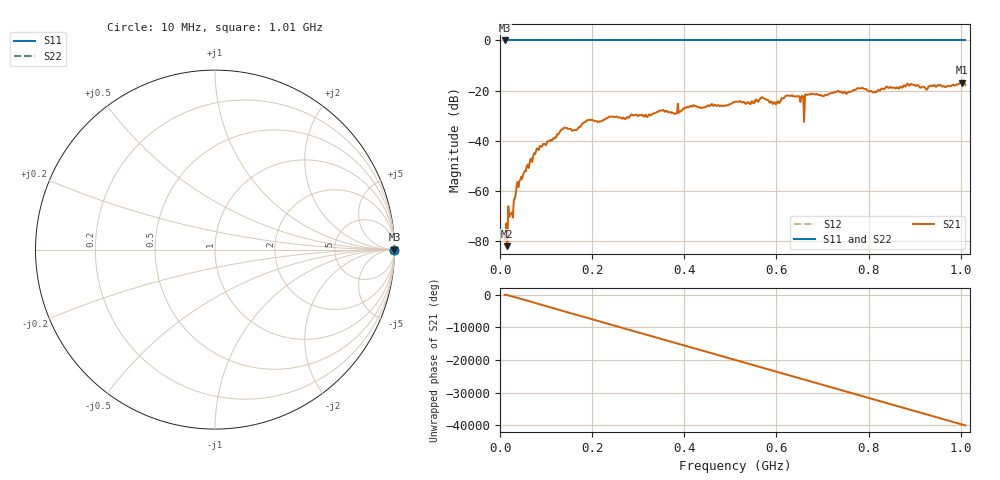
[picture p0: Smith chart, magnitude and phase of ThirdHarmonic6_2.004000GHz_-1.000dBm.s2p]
! 8/17/2025 12:04:33 AM
! C:\ANRITSUVNA\TEMP\TEMP.S2P
! CHANNEL.1
! TR.MEASUREMENT
! RAW.DATA
! RF.CORRECTION.OFF
! AVERAGING.OFF
! IF.BANDWIDTH: 5KHZ
! SWEEPTYPE:  FREQ.SWEEP(Linear)
! Reference Plane Port Info
! PORT:  PORT1  PORT2
! DISTANCE:  0  m  0  m
! TIME:  0  s  0  s
! PHASE.OFFSET:  0  deg.  0  deg.
! LOSS:  0  dB  0  dB
! REF.LOSS:  0  dB  0  dB
! REF.FREQ:  0  Hz  0  Hz
! Power Info
! POWER:  -20  dBm  -20  dBm
! EFF.POWER:  -20  dBm  -20  dBm
! SOURCE.ATTEN:  0  dB  0  dB
! TEST.ATTEN:  0  dB  0  dB
# GHZ S RI R 50.0
! FREQ.GHZ  S11RE  S11IM  S21RE  S21IM  S12RE  S12IM  S22RE  S22IM
!; PortSelection: Port_12
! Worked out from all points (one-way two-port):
!   501 points, 10 MHz to 1.01 GHz, reference 50 ohm
!   highest |S21| = -16.88 dB at 1.002 GHz (marker M1); lowest = -82.2 dB at 16 MHz (marker M2)
!   lowest |S11| = 0.0 dB at 10 MHz (marker M3)
!   |S11| at or under -10 dB: nowhere
!   |S22| runs from 0.0 to 0.0 dB; largest |S21 - S12| = 1.1
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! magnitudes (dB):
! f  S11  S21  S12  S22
! 10 MHz  0.0  -78.5  0.0  0.0
! 16 MHz  0.0  -82.2  0.0  0.0
! 22 MHz  0.0  -69.1  0.0  0.0
! 28 MHz  0.0  -70.7  0.0  0.0
! 40 MHz  0.0  -58.6  0.0  0.0
! 78 MHz  0.0  -44.4  0.0  0.0
! 136 MHz  0.0  -35.4  0.0  0.0
! 162 MHz  0.0  -35.8  0.0  0.0
! 178 MHz  0.0  -33.4  0.0  0.0
! 344 MHz  0.0  -28.4  0.0  0.0
! 380 MHz  0.0  -29.3  0.0  0.0
! 416 MHz  0.0  -26.5  0.0  0.0
! 510 MHz  0.0  -24.5  0.0  0.0
! 570 MHz  0.0  -22.7  0.0  0.0
! 596 MHz  0.0  -24.6  0.0  0.0
! 630 MHz  0.0  -22.1  0.0  0.0
! 654 MHz  0.0  -22.5  0.0  0.0
! 656 MHz  0.0  -22.1  0.0  0.0
! 678 MHz  0.0  -21.3  0.0  0.0
! 844 MHz  0.0  -19.0  0.0  0.0
! 1.002 GHz  0.0  -16.9  0.0  0.0
! 1.01 GHz  0.0  -17.8  0.0  0.0
